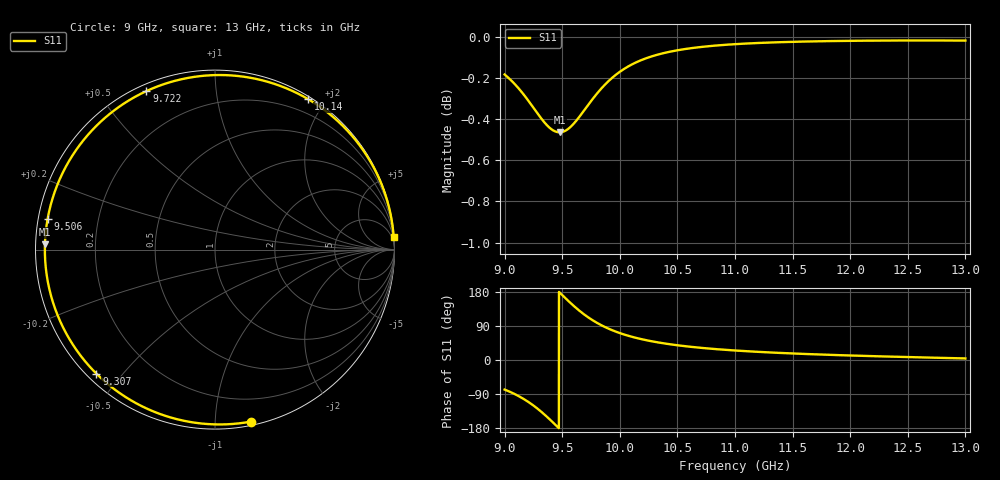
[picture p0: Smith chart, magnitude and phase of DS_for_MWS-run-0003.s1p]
! TOUCHSTONE file generated by CST DESIGN STUDIO
! Date and time: Wed Feb  5 13:37:16 2025
! Project name: C:\Work\MatlabApps\UnitCellOptimizationMatlab\CST\unitcell.cst
! Tree item: Tasks\Sweep1\SPara1\S-Parameters
! Header version: 2024
! Port assignment regex: !\s*Touchstone port\s*([0-9]+)\s*=\s*(CST MWS port|CST DES external port|CST DES block port)\s*(.+)\s* \(\"(.*)\"\)(\s*mode\s*([0-9]+))?.*
! Touchstone port assignment:
! Touchstone port 1 = CST DES external port 1 ("")
# GHz S MA R 50
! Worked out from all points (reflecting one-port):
!   4001 points, 9 GHz to 13 GHz, reference 50 ohm
!   lowest |S11| = -0.5 dB at 9.477 GHz (marker M1), VSWR 37.42, Z = 1.34 + j0.773 ohm
!   phase of S11 starts at -78 deg and turns -278 deg over the sweep
!   S11 on the Smith chart (normalised r, x): 9 GHz: 0.03, -1.23; 9.307 GHz: 0.03, -0.43; 9.506 GHz: 0.03, +0.09; 9.722 GHz: 0.03, +0.66; 10.14 GHz: 0.03, +1.79; 13 GHz: 1, +28
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9  0.9791 -78.0
9.077  0.9746 -88.3
9.174  0.9675 -104.4
9.243  0.9617 -118.5
9.307  0.9562 -133.7
9.352  0.9528 -145.5
9.399  0.9499 -158.7
9.439  0.9484 -170.4
9.477  0.9479 178.2
9.5  0.9481 171.4
9.506  0.9482 169.6
9.558  0.9501 154.4
9.618  0.9538 138.0
9.669  0.9579 125.3
9.722  0.9623 113.4
9.777  0.9668 102.5
9.839  0.9714 91.9
9.918  0.9764 80.6
10  0.9806 71.0
10.143  0.9858 58.2
10.304  0.9896 47.9
10.5  0.9925 38.9
10.722  0.9944 31.6
11  0.9959 25.1
11.5  0.9972 17.2
12  0.9977 11.9
12.5  0.9979 7.7
13  0.9979 4.1
